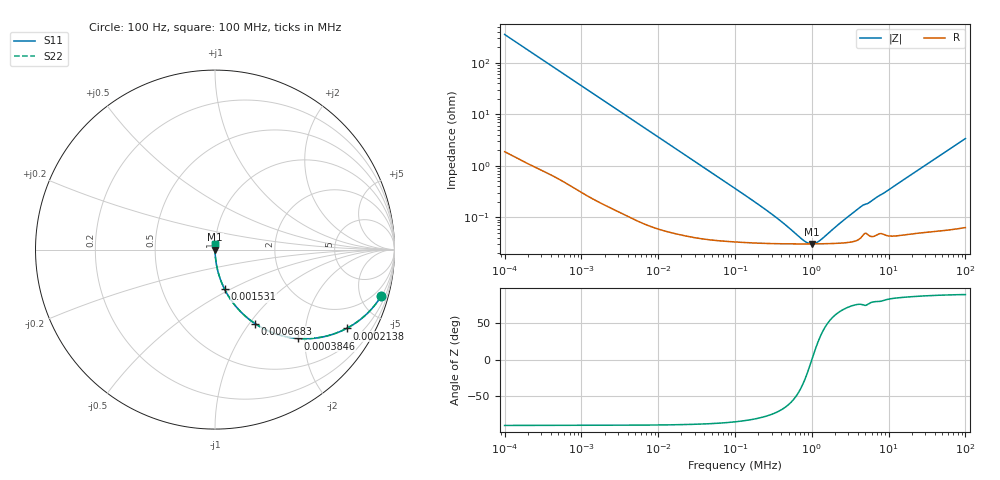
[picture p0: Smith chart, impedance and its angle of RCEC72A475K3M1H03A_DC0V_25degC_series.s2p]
!Murata Part Number: RCEC72A475K3M1H03A
!These Parameters are Measured in Series Mode Connection
!  o--ll--o
!Port1  Port2
!  o------o
!Operation Temp=25[degC], DC Bias Voltage=0[V]
!Freq. Start=100[Hz] Stop=100[MHz], 401[Steps]
!Data Generated on Apr 21, 2023
# Hz S RI R 50
!Freq.(Hz) S11(Real) S11(Imag) S21(Real) S21(Imag) S12(Real) S12(Imag) S22(Real) S22(Imag)
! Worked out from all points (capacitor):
!   401 points, 100 Hz to 100 MHz, reference 50 ohm
!   read as one part in series: C = 4.48 uF near 107.2 Hz
!   lowest |Z| = 30.6 mohm at 1.012 MHz (marker M1)
!   series resonance near 1.001 MHz, so ESL is about 5.6 nH
!   S11 on the Smith chart (normalised r, x): 100 Hz: 1.04, -7.10; 213.8 Hz: 1.02, -3.33; 384.6 Hz: 1.01, -1.85; 668.3 Hz: 1.01, -1.07; 1.531 kHz: 1.00, -0.47; 100 MHz: 1.00, +0.07
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100  0.9252 -0.2604  0.0748 0.2604  0.0748 0.2604  0.9252 -0.2604
146.2177  0.8537 -0.3505  0.1463 0.3505  0.1463 0.3505  0.8537 -0.3505
213.7962  0.7334 -0.439  0.2666 0.439  0.2666 0.439  0.7334 -0.439
291.7427  0.5979 -0.4869  0.4021 0.4869  0.4021 0.4869  0.5979 -0.4869
384.5918  0.4627 -0.4949  0.5373 0.4949  0.5373 0.4949  0.4627 -0.4949
668.3439  0.2246 -0.4132  0.7754 0.4132  0.7754 0.4132  0.2246 -0.4132
1011.579  0.1137 -0.3132  0.8863 0.3132  0.8863 0.3132  0.1137 -0.3132
1531.087  0.054 -0.2215  0.946 0.2215  0.946 0.2215  0.054 -0.2215
3507.519  0.0116 -0.1016  0.9884 0.1016  0.9884 0.1016  0.0116 -0.1016
10232.93  0.00184 -0.0354  0.9982 0.0354  0.9982 0.0354  0.00184 -0.0354
100000  0.000347 -0.00363  0.9997 0.00363  0.9997 0.00363  0.000347 -0.00363
323593.7  0.00031 -0.00102  0.9997 0.00102  0.9997 0.00102  0.00031 -0.00102
794328.2  0.000306 -0.000172  0.9997 0.000172  0.9997 0.000172  0.000306 -0.000172
912010.8  0.000306 -6.86e-05  0.9997 6.86e-05  0.9997 6.86e-05  0.000306 -6.86e-05
1011579  0.000306 8.16e-06  0.9997 -8.16e-06  0.9997 -8.16e-06  0.000306 8.16e-06
1122018  0.000306 8.51e-05  0.9997 -8.51e-05  0.9997 -8.51e-05  0.000306 8.51e-05
1288250  0.000307 0.000189  0.9997 -0.000189  0.9997 -0.000189  0.000307 0.000189
2398833  0.000317 0.000736  0.9997 -0.000736  0.9997 -0.000736  0.000317 0.000736
4315191  0.0004 0.00155  0.9996 -0.00155  0.9996 -0.00155  0.0004 0.00155
5688529  0.000438 0.00192  0.9996 -0.00192  0.9996 -0.00192  0.000438 0.00192
1.023293e7  0.000447 0.00347  0.9996 -0.00347  0.9996 -0.00347  0.000447 0.00347
1e8  0.00178 0.0338  0.9982 -0.0338  0.9982 -0.0338  0.00178 0.0338
